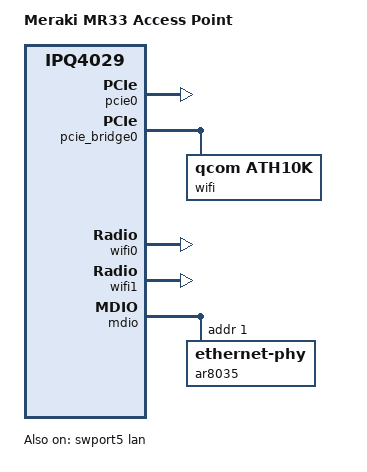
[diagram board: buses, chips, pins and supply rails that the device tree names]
// SPDX-License-Identifier: GPL-2.0-only
// Device Tree Source for Meraki MR33 (Stinkbug)

#include "qcom-ipq4029-meraki-insect.dtsi"

/ {
	model = "Meraki MR33 Access Point";
	compatible = "meraki,mr33";

	soc {
		ess_tcsr@1953000 {
			qcom,ess-interface-select = <TCSR_ESS_PSGMII_RGMII5>;
		};
	};
};

&tricolor {
	enable-gpios = <&tlmm 48 GPIO_ACTIVE_HIGH>;
};

&pcie0 {
	status = "okay";
};

&pcie_bridge0 {
	wifi@0,0 {
		compatible = "qcom,ath10k";
		reg = <0x00010000 0 0 0 0>;
		nvmem-cells = <&mac_address 1>, <&cal_factory_9000>;
		nvmem-cell-names = "mac-address", "calibration";
	};
};

&wifi0 {
	status = "okay";
	qcom,ath10k-calibration-variant = "Meraki-MR33";
};

&wifi1 {
	status = "okay";
	qcom,ath10k-calibration-variant = "Meraki-MR33";
};

&mdio {
	ar8035: ethernet-phy@1 {
		reg = <1>;
	};

	ethernet-phy-package@0 {
		status = "disabled";
	};
};

&switch {
	/delete-property/ psgmii-ethphy;
};

&swport5 {
	status = "okay";

	label = "lan";
	phy-handle = <&ar8035>;
	phy-mode = "rgmii-rxid";
};

&ethphy0 {
	status = "disabled";
};

&ethphy1 {
	status = "disabled";
};

&ethphy2 {
	status = "disabled";
};

&ethphy3 {
	status = "disabled";
};

&ethphy4 {
	status = "disabled";
};

&psgmiiphy {
	status = "disabled";
};
